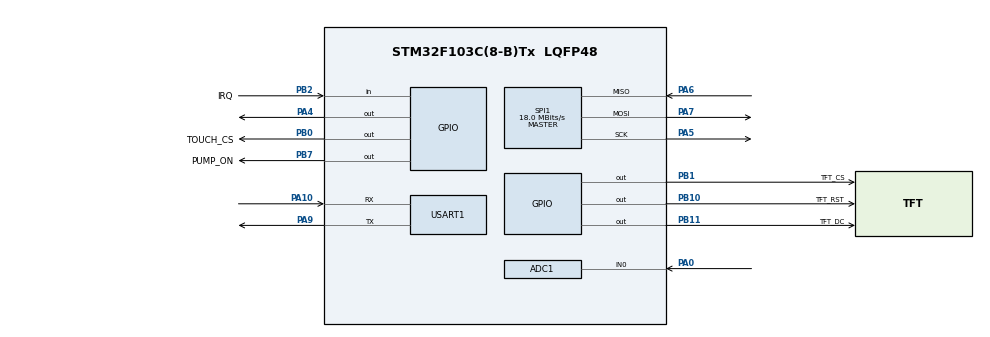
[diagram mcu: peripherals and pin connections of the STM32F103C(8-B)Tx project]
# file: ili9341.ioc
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ADC1.Channel-6\#ChannelRegularConversion=ADC_CHANNEL_0
ADC1.ContinuousConvMode=ENABLE
ADC1.EnableRegularConversion=ENABLE
ADC1.ExternalTrigConv=ADC_EXTERNALTRIGCONV_T4_CC4
ADC1.NbrOfConversion=1
ADC1.NbrOfConversionFlag=1
ADC1.Rank-6\#ChannelRegularConversion=1
ADC1.SamplingTime-6\#ChannelRegularConversion=ADC_SAMPLETIME_13CYCLES_5
ADC1.master=1
Dma.ADC1.1.Direction=DMA_PERIPH_TO_MEMORY
Dma.ADC1.1.Instance=DMA1_Channel1
Dma.ADC1.1.MemDataAlignment=DMA_MDATAALIGN_HALFWORD
Dma.ADC1.1.MemInc=DMA_MINC_ENABLE
Dma.ADC1.1.Mode=DMA_NORMAL
Dma.ADC1.1.PeriphDataAlignment=DMA_PDATAALIGN_HALFWORD
Dma.ADC1.1.PeriphInc=DMA_PINC_DISABLE
Dma.ADC1.1.Priority=DMA_PRIORITY_LOW
Dma.Request0=USART1_TX
Dma.Request1=ADC1
Dma.USART1_TX.0.Direction=DMA_MEMORY_TO_PERIPH
Dma.USART1_TX.0.Instance=DMA1_Channel4
Dma.USART1_TX.0.MemDataAlignment=DMA_MDATAALIGN_BYTE
Dma.USART1_TX.0.MemInc=DMA_MINC_ENABLE
Dma.USART1_TX.0.Mode=DMA_NORMAL
Dma.USART1_TX.0.PeriphDataAlignment=DMA_PDATAALIGN_BYTE
Dma.USART1_TX.0.PeriphInc=DMA_PINC_DISABLE
Dma.USART1_TX.0.Priority=DMA_PRIORITY_LOW
Mcu.Family=STM32F1
Mcu.Name=STM32F103C(8-B)Tx
Mcu.Package=LQFP48
NVIC.DMA1_Channel1_IRQn=true\:0\:0\:false\:false\:true\:false\:true\:true
NVIC.DMA1_Channel4_IRQn=true\:0\:0\:false\:false\:true\:false\:true\:true
NVIC.PriorityGroup=NVIC_PRIORITYGROUP_4
NVIC.TIM3_IRQn=true\:0\:0\:false\:false\:true\:true\:true\:true
NVIC.USART1_IRQn=true\:0\:0\:false\:false\:true\:false\:true\:true
PA0-WKUP.Signal=ADCx_IN0
PA10.Mode=Asynchronous
PA10.Signal=USART1_RX
PA13.Mode=Trace_Asynchronous_SW
PA13.Signal=SYS_JTMS-SWDIO
PA14.Mode=Trace_Asynchronous_SW
PA14.Signal=SYS_JTCK-SWCLK
PA4.Signal=GPIO_Output
PA5.Mode=Full_Duplex_Master
PA5.Signal=SPI1_SCK
PA6.Mode=Full_Duplex_Master
PA6.Signal=SPI1_MISO
PA7.Mode=Full_Duplex_Master
PA7.Signal=SPI1_MOSI
PA9.Mode=Asynchronous
PA9.Signal=USART1_TX
PB0.GPIO_Label=TOUCH_CS
PB0.Signal=GPIO_Output
PB1.GPIO_Label=TFT_CS
PB1.Signal=GPIO_Output
PB10.GPIO_Label=TFT_RST
PB10.Signal=GPIO_Output
PB11.GPIO_Label=TFT_DC
PB11.Signal=GPIO_Output
PB2.GPIO_Label=IRQ
PB2.Signal=GPIO_Input
PB3.Mode=Trace_Asynchronous_SW
PB3.Signal=SYS_JTDO-TRACESWO
PB7.GPIO_Label=PUMP_ON
PB7.GPIO_PuPd=GPIO_NOPULL
PB7.Signal=GPIO_Output
PC14-OSC32_IN.Mode=LSE-External-Oscillator
PC14-OSC32_IN.Signal=RCC_OSC32_IN
PC15-OSC32_OUT.Mode=LSE-External-Oscillator
PC15-OSC32_OUT.Signal=RCC_OSC32_OUT
PD0-OSC_IN.Mode=HSE-External-Oscillator
PD0-OSC_IN.Signal=RCC_OSC_IN
PD1-OSC_OUT.Mode=HSE-External-Oscillator
PD1-OSC_OUT.Signal=RCC_OSC_OUT
ProjectManager.HeapSize=0x200
ProjectManager.StackSize=0x400
ProjectManager.TargetToolchain=STM32CubeIDE
RCC.ADCPresc=RCC_ADCPCLK2_DIV6
RCC.AHBFreq_Value=72000000
RCC.APB1CLKDivider=RCC_HCLK_DIV2
RCC.APB1Freq_Value=36000000
RCC.APB1TimFreq_Value=72000000
RCC.APB2Freq_Value=72000000
RCC.APB2TimFreq_Value=72000000
RCC.HCLKFreq_Value=72000000
RCC.PLLMUL=RCC_PLL_MUL9
RCC.PLLSourceVirtual=RCC_PLLSOURCE_HSE
RCC.SYSCLKFreq_VALUE=72000000
RCC.SYSCLKSource=RCC_SYSCLKSOURCE_PLLCLK
RCC.USBFreq_Value=72000000
SH.ADCx_IN0.0=ADC1_IN0,IN0
SPI1.BaudRatePrescaler=SPI_BAUDRATEPRESCALER_4
SPI1.CLKPolarity=SPI_POLARITY_HIGH
SPI1.CalculateBaudRate=18.0 MBits/s
SPI1.Direction=SPI_DIRECTION_2LINES
SPI1.Mode=SPI_MODE_MASTER
SPI1.VirtualType=VM_MASTER
TIM3.Period=35999
TIM3.Prescaler=1
TIM4.Channel-Output\ Compare4\ No\ Output=TIM_CHANNEL_4
TIM4.OCMode_4=TIM_OCMODE_TOGGLE
TIM4.Period=30
TIM4.Prescaler=720-1
USART1.VirtualMode=VM_ASYNC
VP_TIM3_VS_ClockSourceINT.Mode=Internal
VP_TIM4_VS_no_output4.Mode=Output Compare4 No Output
board=custom

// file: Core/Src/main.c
/* USER CODE BEGIN Header */
/**
  ******************************************************************************
  * @file           : main.c
  * @brief          : Main program body
  ******************************************************************************
  * @attention
  *
  * Copyright (c) 2024 STMicroelectronics.
  * All rights reserved.
  *
  * This software is licensed under terms that can be found in the LICENSE file
  * in the root directory of this software component.
  * If no LICENSE file comes with this software, it is provided AS-IS.
  *
  ******************************************************************************
  */
/* USER CODE END Header */
#include "main.h"
#include "adc.h"
#include "dma.h"
#include "spi.h"
#include "tim.h"
#include "usart.h"
#include "gpio.h"

/* USER CODE BEGIN Includes */

#include "string.h"
#include "stdio.h"

#include "ILI9341_GFX.h"
#include "fonts.h"
#include "img.h"
//#include "xpt2046_touch.h"
#include "stdbool.h"
/* USER CODE END Includes */

/* USER CODE BEGIN PD */

/* ARM Compiler 5/6*/
#define PUTCHAR_PROTOTYPE int fputc(int ch, FILE *f)
#define DWT_CONTROL *(volatile unsigned long *)0xE0001000
#define SCB_DEMCR   *(volatile unsigned long *)0xE000EDFC

/* USER CODE END PD */

/* USER CODE BEGIN PV */

/*ADC Var*/
char trans_str[64] = {0,};
volatile uint16_t adc = 0;
//volatile uint16_t adc[20] = {0,};

volatile uint8_t flag = 0;

typedef struct
{
	float q;  // Процессный шум (ожидаемые изменения сигнала)
	float r;  // Измерительный шум (шум измерений)
	float x;  // Оценка (фильтрованное значение)
	float p;  // Ошибка оценки
	float k;  // Калмановский коэффициент
} KalmanFilter;
uint32_t adcValue = 0;
float filteredValue = 0;

/*Display Var*/
char txt_buf[] = "ADC Data";
char buf[64] = {0,};

bool btnClick = false;

/* USER CODE END PV */

void SystemClock_Config(void);

/* USER CODE BEGIN 0 */

void HAL_ADC_ConvCpltCallback(ADC_HandleTypeDef* hadc)
{
	if(hadc->Instance == ADC1)
	{
		flag = 1;
		//	HAL_GPIO_TogglePin(GPIOA, GPIO_PIN_4);
	}
}

void HAL_TIM_PeriodElapsedCallback(TIM_HandleTypeDef *htim)
{
	if(htim->Instance == htim3.Instance)
	{

		// если кнопка была нажата, меняем ее состояние на противоположное и сбрасываем флаг нажатия
		if(HAL_GPIO_ReadPin(PUMP_ON_GPIO_Port, PUMP_ON_Pin))
		{
			HAL_GPIO_TogglePin(GPIOC, GPIO_PIN_13);
			btnClick = false;
		}
	}
}

// Инициализация фильтра Калмана
void Kalman_Init(KalmanFilter *kf, float process_noise, float measurement_noise, float estimated_error, float initial_value)
{
	kf->q = process_noise;
	kf->r = measurement_noise;
	kf->x = initial_value;
	kf->p = estimated_error;
	kf->k = 0;
}

// Обновление состояния фильтра Калмана при новом измерении
float Kalman_Update(KalmanFilter *kf, float measurement)
{
	// Шаг предсказания
	kf->p = kf->p + kf->q;

	// Шаг обновления
	kf->k = kf->p / (kf->p + kf->r);  // Вычисляем коэффициент Калмана
	kf->x = kf->x + kf->k * (measurement - kf->x);  // Обновляем оценку
	kf->p = (1 - kf->k) * kf->p;  // Обновляем ошибку оценки

	return kf->x;
}

/* USER CODE END 0 */

int main(void)
{

	/* USER CODE BEGIN 1 */
	KalmanFilter adcKalman;
	/* USER CODE END 1 */

	/* MCU Configuration--------------------------------------------------------*/

	/* Reset of all peripherals, Initializes the Flash interface and the Systick. */
	HAL_Init();

	/* Configure the system clock */
	SystemClock_Config();

	/* Initialize all configured peripherals */
	MX_GPIO_Init();
	MX_DMA_Init();
	MX_USART1_UART_Init();
	MX_SPI1_Init();
	MX_ADC1_Init();
	MX_TIM4_Init();
	MX_TIM3_Init();
	/* USER CODE BEGIN 2 */

	Kalman_Init(&adcKalman, 0.01, 1.0, 0.8, 0);

	HAL_ADCEx_Calibration_Start(&hadc1);
	HAL_ADC_Start_DMA(&hadc1, (uint32_t*)&adc, 20);
	HAL_TIM_OC_Start(&htim4, TIM_CHANNEL_4);
	HAL_TIM_Base_Start_IT(&htim3);

	__HAL_SPI_ENABLE(DISP_SPI_PTR); // включаем SPI

	DISP_CS_UNSELECT;
// TOUCH_CS_UNSELECT; // это нужно только если есть тач

	ILI9341_Init(); // инициализация дисплея
	ILI9341_Set_Rotation(SCREEN_VERTICAL_2); // установка ориентации экрана (варианты в файле ILI9341_GFX.h)
	ILI9341_Fill_Screen(BLUE); // заливка всего экрана цветом (цвета в файле ILI9341_GFX.h)
	ILI9341_WriteString(40, 46, txt_buf, Font_16x26, YELLOW, BLUE); // можно передавать массив

	/* USER CODE END 2 */

	/* Infinite loop */
	/* USER CODE BEGIN WHILE */
	while(1)
	{
		if(flag & (adc >= 4050))
		{
			flag = 0;
			GPIOA->BSRR = GPIO_BSRR_BR4;
			//HAL_ADC_Stop_DMA(&hadc1); // это необязательно
			ADC1->CR2 &= ~ADC_CR2_DMA;  // Отключить DMA для ADC1
			ADC1->CR2 &= ~ADC_CR2_ADON; // Остановить ADC1

			// Обновляем фильтр Калмана с новым значением АЦП
			filteredValue = Kalman_Update(&adcKalman, (float)adc);

			snprintf(trans_str, 10, "ADC%d\r\n", (uint16_t)filteredValue);
			ILI9341_WriteString(40, 96, trans_str, Font_16x26, YELLOW, BLUE);
		//	HAL_UART_Transmit(&huart1, (uint8_t*)trans_str, strlen(trans_str), 100);

			HAL_Delay(500);
			printf("hello\r\n");
			adc = 0;
			HAL_ADC_Start_DMA(&hadc1, (uint32_t*)&adc, 20);
		}

		if(flag & (adc < 4050))
		{
			flag = 0;
			GPIOA->BSRR = GPIO_BSRR_BS4;
			//HAL_ADC_Stop_DMA(&hadc1); // это необязательно
			ADC1->CR2 &= ~ADC_CR2_DMA;  // Отключить DMA для ADC1
			ADC1->CR2 &= ~ADC_CR2_ADON; // Остановить ADC1
			// Обновляем фильтр Калмана с новым значением АЦП
			filteredValue = Kalman_Update(&adcKalman, (float)adc);

			snprintf(trans_str, 10, "ADC %d \r\n", (uint16_t)filteredValue);
//           snprintf(trans_str, 10, "ADC %d \r\n", adc);
			ILI9341_WriteString(40, 96, trans_str, Font_16x26, YELLOW, BLUE);
		//	HAL_UART_Transmit(&huart1, (uint8_t*)trans_str, strlen(trans_str), 100);

			HAL_Delay(500);
						printf("hello\r\n");
			adc = 0;
			HAL_ADC_Start_DMA(&hadc1, (uint32_t*)&adc, 20);
		}

		/* USER CODE END WHILE */

	}
}

void SystemClock_Config(void)
{
	LL_FLASH_SetLatency(LL_FLASH_LATENCY_2);
	while(LL_FLASH_GetLatency() != LL_FLASH_LATENCY_2)
	{
	}
	LL_RCC_HSE_Enable();

	/* Wait till HSE is ready */
	while(LL_RCC_HSE_IsReady() != 1)
	{

	}
	LL_RCC_PLL_ConfigDomain_SYS(LL_RCC_PLLSOURCE_HSE_DIV_1, LL_RCC_PLL_MUL_9);
	LL_RCC_PLL_Enable();

	/* Wait till PLL is ready */
	while(LL_RCC_PLL_IsReady() != 1)
	{

	}
	LL_RCC_SetAHBPrescaler(LL_RCC_SYSCLK_DIV_1);
	LL_RCC_SetAPB1Prescaler(LL_RCC_APB1_DIV_2);
	LL_RCC_SetAPB2Prescaler(LL_RCC_APB2_DIV_1);
	LL_RCC_SetSysClkSource(LL_RCC_SYS_CLKSOURCE_PLL);

	/* Wait till System clock is ready */
	while(LL_RCC_GetSysClkSource() != LL_RCC_SYS_CLKSOURCE_STATUS_PLL)
	{

	}
	LL_SetSystemCoreClock(72000000);

	/* Update the time base */
	if(HAL_InitTick(TICK_INT_PRIORITY) != HAL_OK)
	{
		Error_Handler();
	}
	LL_RCC_SetADCClockSource(LL_RCC_ADC_CLKSRC_PCLK2_DIV_6);
}

/* USER CODE BEGIN 4 */

int fputc(int ch, FILE *f) {
    // Ожидание, пока буфер передачи не будет пуст (TXE = 1)
    while (!(USART1->SR & USART_SR_TXE));

    // Отправляем символ
    USART1->DR = (uint8_t)ch;

    // Возвращаем символ
    return ch;
}

//int fputc(int ch, FILE *f) {
//    // Отправка символа через UART (например, huart1)
//    HAL_UART_Transmit(&huart1, (uint8_t *)&ch, 1, HAL_MAX_DELAY);
//    return ch;
//}

/* USER CODE END 4 */

void Error_Handler(void)
{
	__disable_irq();
	while(1)
	{
	}
}
